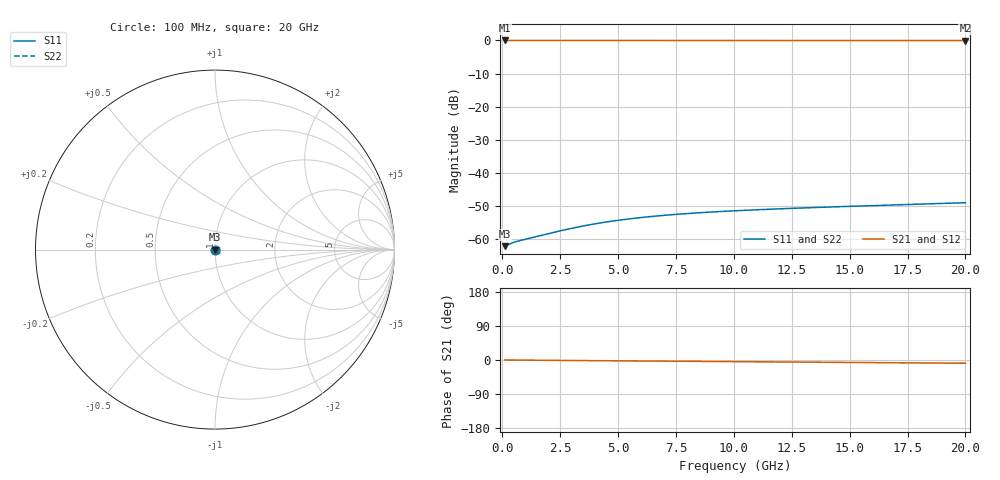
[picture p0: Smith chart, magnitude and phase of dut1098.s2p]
! Touchstone file exported from HFSS 2026.1.0
!  File:  C:/ffzhzh/LocalFiles/Ansys_Project_Files/temp_train_TSV_1098_1783190452_43440.aedt
!  Generated:  02:42:23 AM Jul  5, 2026
!  Design:  TSV
!  Project:  temp_train_TSV_1098_1783190452_43440
! Variables:
!  h_bsmrdl = 2um
!  h_ox = 20um
!  h_rdl = 5um
!  h_sub = 93.96um
!  h_tmrdl = 5um
!  h_tsv = 93.96um
!  h_via = 3um
!  l_bsmrdl = 300um
!  l_sub = 407.6um
!  l_tmrdl = 200um
!  m_sub = 200um
!  pitch = 15.84um
!  r_tsv = 3.8um
!  s_tmrdl = 10um
!  w_bsmrdl = 18um
!  w_sub = 500um
!  w_tmrdl = 12um
!  x_tsv_center1 = 206um
!  x_tsv_center2 = 524um
!  x_tsv_center3 = 736um
!  x_tsv_center4 = 1054um
!  x_tsv_center5 = 1266um
!  x_tsv_center6 = 1584um
# GHz S MA R 50.000000
! Terminal data exported
! Port[1] = TSV1_1_T1
! Port[2] = TSV1_1_T2
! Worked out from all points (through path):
!   200 points, 100 MHz to 20 GHz, reference 50 ohm
!   highest |S21| = -0.01 dB at 100 MHz (marker M1); lowest = 0.0 dB at 20 GHz (marker M2)
!   group delay of S21, straight-line fit = 1.18 ps
!   lowest |S11| = -62.2 dB at 100 MHz (marker M3), VSWR 1.00, Z = 50.1 + j0.00629 ohm
!   |S11| at or under -10 dB: start of sweep to end of sweep
!   |S22| runs from -62.2 to -49.1 dB; largest |S21 - S12| = 7.4e-15
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0.1  0.0007767 4.6  0.9992 -0.0  0.9992 -0.0  0.0007767 4.6
! Gamma 0 0 0 0
! Port Impedance 50 0 50 0
0.4  0.0008651 12.4  0.9992 -0.2  0.9992 -0.2  0.0008651 12.4
0.5  0.0008903 13.8  0.9991 -0.2  0.9991 -0.2  0.0008902 13.8
0.7  0.0009324 16.2  0.9991 -0.3  0.9991 -0.3  0.0009324 16.2
2.5  0.001323 29.8  0.9989 -1.1  0.9989 -1.1  0.001323 29.8
3  0.001447 30.9  0.9988 -1.3  0.9988 -1.3  0.001447 30.9
3.5  0.001571 31.4  0.9987 -1.5  0.9987 -1.5  0.001571 31.4
3.8  0.001643 31.3  0.9986 -1.7  0.9986 -1.7  0.001643 31.3
4.2  0.001736 31.0  0.9985 -1.8  0.9985 -1.8  0.001736 31.0
4.6  0.001826 30.5  0.9985 -2.0  0.9985 -2.0  0.001826 30.6
5  0.001911 29.9  0.9984 -2.2  0.9984 -2.2  0.001911 29.9
5.4  0.001992 29.1  0.9983 -2.4  0.9983 -2.4  0.001992 29.1
5.9  0.002087 28.1  0.9982 -2.6  0.9982 -2.6  0.002087 28.1
6.8  0.002242 26.0  0.998 -3.0  0.998 -3.0  0.002242 26.0
7.5  0.002349 24.3  0.9979 -3.3  0.9979 -3.3  0.002349 24.3
8.3  0.002459 22.4  0.9978 -3.6  0.9978 -3.6  0.002458 22.4
9.2  0.002569 20.3  0.9977 -4.0  0.9977 -4.0  0.002569 20.3
10.1  0.002669 18.3  0.9975 -4.4  0.9975 -4.4  0.002668 18.3
11.6  0.002816 15.1  0.9973 -5.0  0.9973 -5.0  0.002816 15.1
13.4  0.002975 11.5  0.9972 -5.7  0.9972 -5.7  0.002974 11.6
16.7  0.003245 5.6  0.9968 -7.1  0.9968 -7.1  0.003244 5.6
20  0.003525 -0.2  0.9965 -8.5  0.9965 -8.5  0.003523 -0.2
